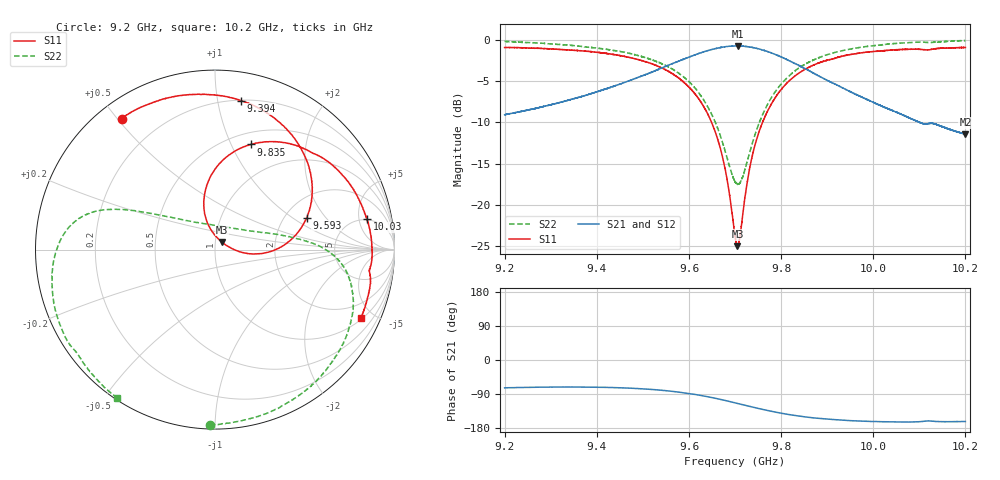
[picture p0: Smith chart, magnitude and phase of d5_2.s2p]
!Agilent Technologies,N5242A,MY51221714,A.09.90.19
!Agilent N5242A: A.09.90.19
!Date: Saturday, March 16, 2024 09:12:51
!Correction: S11(Full 2 Port(1,2))
!S21(Full 2 Port(1,2))
!S12(Full 2 Port(1,2))
!S22(Full 2 Port(1,2))
!S2P File: Measurements: S11, S21, S12, S22:
# Hz S  dB  R 50
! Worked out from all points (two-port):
!   16001 points, 9.2 GHz to 10.2 GHz, reference 50 ohm
!   highest |S21| = -0.74 dB at 9.706 GHz (marker M1); lowest = -11.5 dB at 10.2 GHz (marker M2)
!   |S21| within 3 dB of the highest: 9.527435 GHz to 9.527562 GHz (126.6 kHz wide, 0.00133 % of centre); 9.528 GHz to 9.86 GHz (332.5 MHz wide, 3.43 % of centre)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
!   lowest |S11| = -25.0 dB at 9.705 GHz (marker M3), VSWR 1.12, Z = 53.7 + j4.54 ohm
!   |S11| at or under -10 dB: 9.649 GHz to 9.76 GHz (110.7 MHz wide, 1.14 % of centre)
!   |S22| runs from -17.5 to -0.1 dB; largest |S21 - S12| = 0.011
!   S11 on the Smith chart (normalised r, x): 9.2 GHz: 0.07, +0.51; 9.394 GHz: 0.20, +1.17; 9.593 GHz: 2.61, +1.31; 9.835 GHz: 0.63, +1.19; 10.03 GHz: 4.87, +6.47; 10.2 GHz: 1.09, -4.23
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9.2e9  -0.95 125.5  -9.08 -73.5  -9.06 -74.0  -0.20 -91.7
9.27775e9  -1.05 108.1  -8.17 -71.7  -8.16 -72.2  -0.42 -70.1
9.366688e9  -1.34 87.2  -6.88 -71.4  -6.86 -71.9  -0.81 -46.5
9.394125e9  -1.49 80.2  -6.41 -71.7  -6.40 -72.2  -0.98 -39.3
9.463938e9  -2.06 61.3  -5.10 -74.0  -5.09 -74.4  -1.58 -22.8
9.533375e9  -3.21 40.2  -3.60 -79.0  -3.59 -79.5  -2.71 -8.4
9.592812e9  -5.34 19.2  -2.27 -87.1  -2.25 -87.6  -4.70 1.9
9.66e9  -11.63 -4.8  -1.06 -101.8  -1.04 -102.3  -10.37 17.9
9.6805e9  -16.21 -6.3  -0.84 -107.3  -0.82 -107.9  -13.86 32.1
9.7e9  -23.69 22.8  -0.76 -113.0  -0.74 -113.5  -17.21 65.7
9.70525e9  -24.98 48.4  -0.75 -114.5  -0.74 -115.1  -17.44 79.1
9.705688e9  -24.93 50.6  -0.74 -114.7  -0.74 -115.2  -17.50 80.2
9.732312e9  -15.39 106.1  -0.88 -122.5  -0.86 -123.2  -13.51 131.0
9.75375e9  -10.89 102.5  -1.15 -128.6  -1.14 -129.3  -9.88 145.0
9.789438e9  -6.84 89.3  -1.83 -137.8  -1.82 -138.4  -6.14 154.1
9.834938e9  -4.18 71.3  -3.00 -147.2  -3.00 -147.7  -3.57 160.6
9.866688e9  -3.16 59.7  -3.94 -152.2  -3.92 -152.7  -2.55 164.9
9.951562e9  -1.79 33.1  -6.33 -160.1  -6.33 -160.5  -1.11 179.4
1.003338e10  -1.29 11.4  -8.38 -163.1  -8.38 -163.6  -0.52 -163.4
1.003356e10  -1.28 11.3  -8.39 -163.1  -8.38 -163.6  -0.52 -163.4
1.010425e10  -1.17 -5.5  -10.08 -162.4  -10.08 -163.0  -0.29 -147.5
1.02e10  -0.95 -25.1  -11.45 -162.4  -11.44 -162.9  -0.09 -123.5
